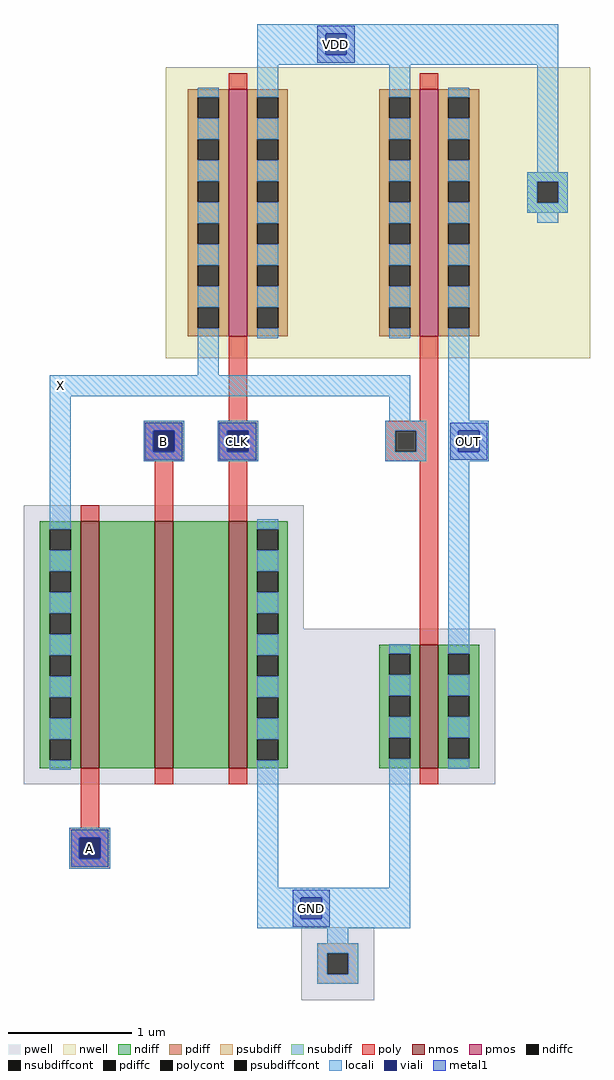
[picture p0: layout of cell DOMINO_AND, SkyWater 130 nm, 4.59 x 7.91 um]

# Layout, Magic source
magic
tech sky130A
magscale 1 2
<< nwell >>
rect 204 664 892 1136
<< pwell >>
rect -26 226 428 426
rect -26 -26 738 226
rect 424 -376 542 -258
<< nmos >>
rect 66 0 96 400
rect 186 0 216 400
rect 306 0 336 400
rect 616 0 646 200
<< pmos >>
rect 306 700 336 1100
rect 616 700 646 1100
<< ndiff >>
rect 0 387 66 400
rect 0 353 16 387
rect 50 353 66 387
rect 0 319 66 353
rect 0 285 16 319
rect 50 285 66 319
rect 0 251 66 285
rect 0 217 16 251
rect 50 217 66 251
rect 0 183 66 217
rect 0 149 16 183
rect 50 149 66 183
rect 0 115 66 149
rect 0 81 16 115
rect 50 81 66 115
rect 0 47 66 81
rect 0 13 16 47
rect 50 13 66 47
rect 0 0 66 13
rect 96 0 186 400
rect 216 0 306 400
rect 336 387 402 400
rect 336 353 352 387
rect 386 353 402 387
rect 336 319 402 353
rect 336 285 352 319
rect 386 285 402 319
rect 336 251 402 285
rect 336 217 352 251
rect 386 217 402 251
rect 336 183 402 217
rect 336 149 352 183
rect 386 149 402 183
rect 336 115 402 149
rect 336 81 352 115
rect 386 81 402 115
rect 336 47 402 81
rect 336 13 352 47
rect 386 13 402 47
rect 336 0 402 13
rect 550 185 616 200
rect 550 151 566 185
rect 600 151 616 185
rect 550 117 616 151
rect 550 83 566 117
rect 600 83 616 117
rect 550 49 616 83
rect 550 15 566 49
rect 600 15 616 49
rect 550 0 616 15
rect 646 185 712 200
rect 646 151 662 185
rect 696 151 712 185
rect 646 117 712 151
rect 646 83 662 117
rect 696 83 712 117
rect 646 49 712 83
rect 646 15 662 49
rect 696 15 712 49
rect 646 0 712 15
<< pdiff >>
rect 240 1087 306 1100
rect 240 1053 256 1087
rect 290 1053 306 1087
rect 240 1019 306 1053
rect 240 985 256 1019
rect 290 985 306 1019
rect 240 951 306 985
rect 240 917 256 951
rect 290 917 306 951
rect 240 883 306 917
rect 240 849 256 883
rect 290 849 306 883
rect 240 815 306 849
rect 240 781 256 815
rect 290 781 306 815
rect 240 747 306 781
rect 240 713 256 747
rect 290 713 306 747
rect 240 700 306 713
rect 336 1087 402 1100
rect 336 1053 352 1087
rect 386 1053 402 1087
rect 336 1019 402 1053
rect 336 985 352 1019
rect 386 985 402 1019
rect 336 951 402 985
rect 336 917 352 951
rect 386 917 402 951
rect 336 883 402 917
rect 336 849 352 883
rect 386 849 402 883
rect 336 815 402 849
rect 336 781 352 815
rect 386 781 402 815
rect 336 747 402 781
rect 336 713 352 747
rect 386 713 402 747
rect 336 700 402 713
rect 550 1087 616 1100
rect 550 1053 566 1087
rect 600 1053 616 1087
rect 550 1019 616 1053
rect 550 985 566 1019
rect 600 985 616 1019
rect 550 951 616 985
rect 550 917 566 951
rect 600 917 616 951
rect 550 883 616 917
rect 550 849 566 883
rect 600 849 616 883
rect 550 815 616 849
rect 550 781 566 815
rect 600 781 616 815
rect 550 747 616 781
rect 550 713 566 747
rect 600 713 616 747
rect 550 700 616 713
rect 646 1087 712 1100
rect 646 1053 662 1087
rect 696 1053 712 1087
rect 646 1019 712 1053
rect 646 985 662 1019
rect 696 985 712 1019
rect 646 951 712 985
rect 646 917 662 951
rect 696 917 712 951
rect 646 883 712 917
rect 646 849 662 883
rect 696 849 712 883
rect 646 815 712 849
rect 646 781 662 815
rect 696 781 712 815
rect 646 747 712 781
rect 646 713 662 747
rect 696 713 712 747
rect 646 700 712 713
<< ndiffc >>
rect 16 353 50 387
rect 16 285 50 319
rect 16 217 50 251
rect 16 149 50 183
rect 16 81 50 115
rect 16 13 50 47
rect 352 353 386 387
rect 352 285 386 319
rect 352 217 386 251
rect 352 149 386 183
rect 352 81 386 115
rect 352 13 386 47
rect 566 151 600 185
rect 566 83 600 117
rect 566 15 600 49
rect 662 151 696 185
rect 662 83 696 117
rect 662 15 696 49
<< pdiffc >>
rect 256 1053 290 1087
rect 256 985 290 1019
rect 256 917 290 951
rect 256 849 290 883
rect 256 781 290 815
rect 256 713 290 747
rect 352 1053 386 1087
rect 352 985 386 1019
rect 352 917 386 951
rect 352 849 386 883
rect 352 781 386 815
rect 352 713 386 747
rect 566 1053 600 1087
rect 566 985 600 1019
rect 566 917 600 951
rect 566 849 600 883
rect 566 781 600 815
rect 566 713 600 747
rect 662 1053 696 1087
rect 662 985 696 1019
rect 662 917 696 951
rect 662 849 696 883
rect 662 781 696 815
rect 662 713 696 747
<< psubdiff >>
rect 450 -300 516 -284
rect 450 -334 466 -300
rect 500 -334 516 -300
rect 450 -350 516 -334
<< nsubdiff >>
rect 790 950 856 966
rect 790 916 806 950
rect 840 916 856 950
rect 790 900 856 916
<< psubdiffcont >>
rect 466 -334 500 -300
<< nsubdiffcont >>
rect 806 916 840 950
<< poly >>
rect 306 1100 336 1126
rect 616 1100 646 1126
rect 306 563 336 700
rect 616 563 646 700
rect 168 547 234 563
rect 168 513 184 547
rect 218 513 234 547
rect 168 497 234 513
rect 288 547 354 563
rect 288 513 304 547
rect 338 513 354 547
rect 288 497 354 513
rect 560 547 646 563
rect 560 513 576 547
rect 610 513 646 547
rect 560 497 646 513
rect 66 400 96 426
rect 186 400 216 497
rect 306 400 336 497
rect 616 200 646 497
rect 66 -97 96 0
rect 186 -26 216 0
rect 306 -26 336 0
rect 616 -26 646 0
rect 48 -113 114 -97
rect 48 -147 64 -113
rect 98 -147 114 -113
rect 48 -163 114 -147
<< polycont >>
rect 184 513 218 547
rect 304 513 338 547
rect 576 513 610 547
rect 64 -147 98 -113
<< locali >>
rect 352 1190 840 1206
rect 352 1156 463 1190
rect 497 1156 840 1190
rect 352 1140 840 1156
rect 256 1087 290 1103
rect 256 1019 290 1053
rect 256 951 290 985
rect 256 883 290 917
rect 256 815 290 849
rect 256 747 290 781
rect 256 637 290 713
rect 352 1087 386 1140
rect 352 1019 386 1053
rect 352 951 386 985
rect 352 883 386 917
rect 352 815 386 849
rect 352 747 386 781
rect 352 697 386 713
rect 566 1087 600 1140
rect 566 1019 600 1053
rect 566 951 600 985
rect 566 883 600 917
rect 566 815 600 849
rect 566 747 600 781
rect 566 697 600 713
rect 662 1087 696 1103
rect 662 1019 696 1053
rect 662 951 696 985
rect 806 966 840 1140
rect 662 883 696 917
rect 790 950 856 966
rect 790 916 806 950
rect 840 916 856 950
rect 790 900 856 916
rect 806 884 840 900
rect 662 815 696 849
rect 662 747 696 781
rect 16 603 600 637
rect 16 387 50 603
rect 566 563 600 603
rect 662 563 696 713
rect 168 547 234 563
rect 168 513 184 547
rect 218 513 234 547
rect 168 497 234 513
rect 288 547 354 563
rect 288 513 304 547
rect 338 513 354 547
rect 288 497 354 513
rect 560 547 626 563
rect 560 513 576 547
rect 610 513 626 547
rect 560 497 626 513
rect 662 547 728 563
rect 662 513 678 547
rect 712 513 728 547
rect 662 497 728 513
rect 16 319 50 353
rect 16 251 50 285
rect 16 183 50 217
rect 16 115 50 149
rect 16 47 50 81
rect 16 -3 50 13
rect 352 387 386 403
rect 352 319 386 353
rect 352 251 386 285
rect 352 183 386 217
rect 352 115 386 149
rect 352 47 386 81
rect 48 -113 114 -97
rect 48 -147 64 -113
rect 98 -147 114 -113
rect 48 -163 114 -147
rect 352 -194 386 13
rect 566 185 600 201
rect 566 117 600 151
rect 566 49 600 83
rect 566 -194 600 15
rect 662 185 696 497
rect 662 117 696 151
rect 662 49 696 83
rect 662 -1 696 15
rect 352 -210 600 -194
rect 352 -244 423 -210
rect 457 -244 600 -210
rect 352 -260 600 -244
rect 466 -284 500 -260
rect 450 -300 516 -284
rect 450 -334 466 -300
rect 500 -334 516 -300
rect 450 -350 516 -334
<< viali >>
rect 463 1156 497 1190
rect 184 513 218 547
rect 304 513 338 547
rect 678 513 712 547
rect 64 -147 98 -113
rect 423 -244 457 -210
<< metal1 >>
rect 450 1190 510 1203
rect 450 1156 463 1190
rect 497 1156 510 1190
rect 450 1143 510 1156
rect 171 547 231 560
rect 171 513 184 547
rect 218 513 231 547
rect 171 500 231 513
rect 291 547 351 560
rect 291 513 304 547
rect 338 513 351 547
rect 291 500 351 513
rect 665 547 725 560
rect 665 513 678 547
rect 712 513 725 547
rect 665 500 725 513
rect 51 -113 111 -100
rect 51 -147 64 -113
rect 98 -147 111 -113
rect 51 -160 111 -147
rect 410 -210 470 -197
rect 410 -244 423 -210
rect 457 -244 470 -210
rect 410 -257 470 -244
<< labels >>
rlabel metal1 s 81 -130 81 -130 4 A
rlabel metal1 s 201 530 201 530 4 B
rlabel metal1 s 321 530 321 530 4 CLK
rlabel metal1 s 695 530 695 530 4 OUT
rlabel metal1 s 440 -227 440 -227 4 GND
rlabel metal1 s 480 1173 480 1173 4 VDD
rlabel locali s 33 620 33 620 4 X
<< end >>
